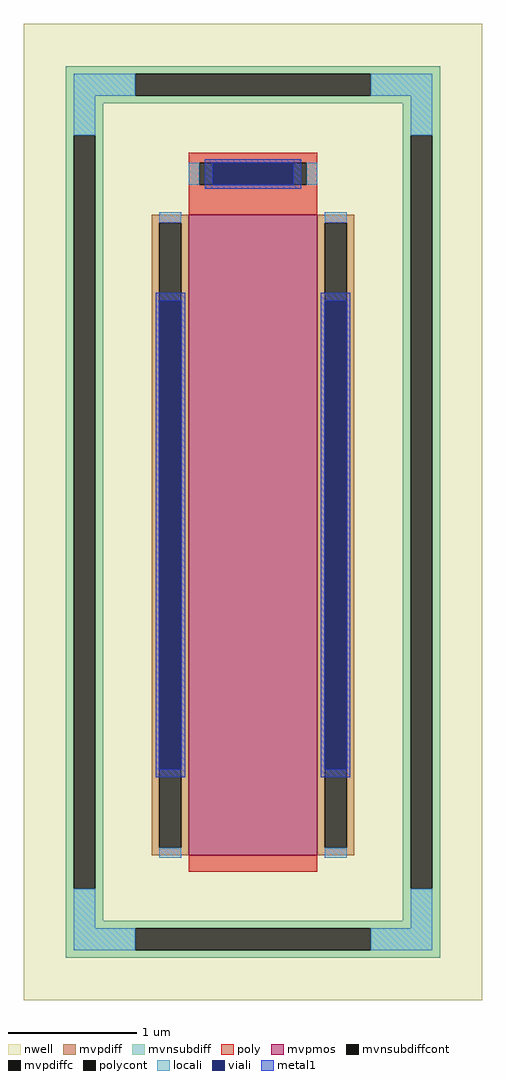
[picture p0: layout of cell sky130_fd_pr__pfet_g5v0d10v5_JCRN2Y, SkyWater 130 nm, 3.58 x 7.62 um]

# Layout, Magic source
magic
tech sky130A
magscale 1 2
<< nwell >>
rect -358 -762 358 762
<< mvpmos >>
rect -100 -536 100 464
<< mvpdiff >>
rect -158 452 -100 464
rect -158 -524 -146 452
rect -112 -524 -100 452
rect -158 -536 -100 -524
rect 100 452 158 464
rect 100 -524 112 452
rect 146 -524 158 452
rect 100 -536 158 -524
<< mvpdiffc >>
rect -146 -524 -112 452
rect 112 -524 146 452
<< mvnsubdiff >>
rect -292 684 292 696
rect -292 650 -184 684
rect 184 650 292 684
rect -292 638 292 650
rect -292 588 -234 638
rect -292 -588 -280 588
rect -246 -588 -234 588
rect 234 588 292 638
rect -292 -638 -234 -588
rect 234 -588 246 588
rect 280 -588 292 588
rect 234 -638 292 -588
rect -292 -650 292 -638
rect -292 -684 -184 -650
rect 184 -684 292 -650
rect -292 -696 292 -684
<< mvnsubdiffcont >>
rect -184 650 184 684
rect -280 -588 -246 588
rect 246 -588 280 588
rect -184 -684 184 -650
<< poly >>
rect -100 545 100 561
rect -100 511 -84 545
rect 84 511 100 545
rect -100 464 100 511
rect -100 -562 100 -536
<< polycont >>
rect -84 511 84 545
<< locali >>
rect -280 650 -184 684
rect 184 650 280 684
rect -280 588 -246 650
rect 246 588 280 650
rect -100 511 -84 545
rect 84 511 100 545
rect -146 452 -112 468
rect -146 -540 -112 -524
rect 112 452 146 468
rect 112 -540 146 -524
rect -280 -650 -246 -588
rect 246 -650 280 -588
rect -280 -684 -184 -650
rect 184 -684 280 -650
<< viali >>
rect -63 511 63 545
rect -146 -402 -112 330
rect 112 -402 146 330
<< metal1 >>
rect -75 545 75 551
rect -75 511 -63 545
rect 63 511 75 545
rect -75 505 75 511
rect -152 330 -106 342
rect -152 -402 -146 330
rect -112 -402 -106 330
rect -152 -414 -106 -402
rect 106 330 152 342
rect 106 -402 112 330
rect 146 -402 152 330
rect 106 -414 152 -402
<< properties >>
string FIXED_BBOX -263 -667 263 667
string gencell sky130_fd_pr__pfet_g5v0d10v5
string library sky130
string parameters w 5 l 1 m 1 nf 1 diffcov 100 polycov 100 guard 1 glc 1 grc 1 gtc 1 gbc 1 tbcov 100 rlcov 100 topc 1 botc 0 poverlap 0 doverlap 1 lmin 0.50 wmin 0.42 compatible {sky130_fd_pr__pfet_01v8  sky130_fd_pr__pfet_01v8_lvt sky130_fd_pr__pfet_01v8_hvt  sky130_fd_pr__pfet_g5v0d10v5} full_metal 1 viasrc 75 viadrn 75 viagate 75 viagb 0 viagr 0 viagl 0 viagt 0
<< end >>
